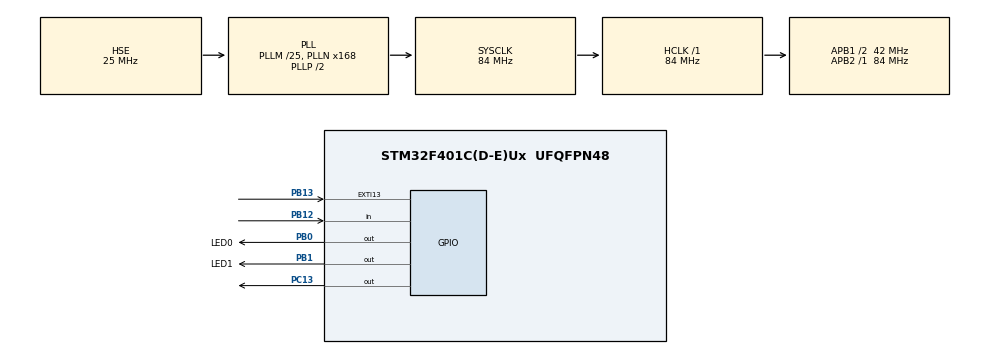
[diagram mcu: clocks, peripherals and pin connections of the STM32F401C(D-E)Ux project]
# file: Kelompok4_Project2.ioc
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Mcu.Family=STM32F4
Mcu.Name=STM32F401C(D-E)Ux
Mcu.Package=UFQFPN48
NVIC.EXTI15_10_IRQn=true\:0\:0\:false\:false\:true\:true\:true\:true
NVIC.PriorityGroup=NVIC_PRIORITYGROUP_4
PA13.Mode=Serial_Wire
PA13.Signal=SYS_JTMS-SWDIO
PA14.Mode=Serial_Wire
PA14.Signal=SYS_JTCK-SWCLK
PB0.GPIO_Label=LED0
PB0.Signal=GPIO_Output
PB1.GPIO_Label=LED1
PB1.Signal=GPIO_Output
PB12.GPIO_PuPd=GPIO_PULLUP
PB12.Signal=GPIO_Input
PB13.GPIO_ModeDefaultEXTI=GPIO_MODE_IT_FALLING
PB13.GPIO_PuPd=GPIO_PULLUP
PB13.Signal=GPXTI13
PC13-ANTI_TAMP.Signal=GPIO_Output
PH0\ -\ OSC_IN.Mode=HSE-External-Oscillator
PH0\ -\ OSC_IN.Signal=RCC_OSC_IN
PH1\ -\ OSC_OUT.Mode=HSE-External-Oscillator
PH1\ -\ OSC_OUT.Signal=RCC_OSC_OUT
ProjectManager.HeapSize=0x200
ProjectManager.StackSize=0x400
ProjectManager.TargetToolchain=STM32CubeIDE
RCC.48MHZClocksFreq_Value=42000000
RCC.AHBFreq_Value=84000000
RCC.APB1CLKDivider=RCC_HCLK_DIV2
RCC.APB1Freq_Value=42000000
RCC.APB1TimFreq_Value=84000000
RCC.APB2Freq_Value=84000000
RCC.APB2TimFreq_Value=84000000
RCC.CortexFreq_Value=84000000
RCC.HCLKFreq_Value=84000000
RCC.HSE_VALUE=25000000
RCC.HSI_VALUE=16000000
RCC.LSE_VALUE=32768
RCC.PLLM=25
RCC.PLLN=168
RCC.PLLSourceVirtual=RCC_PLLSOURCE_HSE
RCC.SYSCLKFreq_VALUE=84000000
RCC.SYSCLKSource=RCC_SYSCLKSOURCE_PLLCLK
RCC.VCOOutputFreq_Value=168000000
board=custom

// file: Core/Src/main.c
/* USER CODE BEGIN Header */
/**
  ******************************************************************************
  * @file           : main.c
  * @brief          : Main program body
  ******************************************************************************
  * @attention
  *
  * Copyright (c) 2025 STMicroelectronics.
  * All rights reserved.
  *
  * This software is licensed under terms that can be found in the LICENSE file
  * in the root directory of this software component.
  * If no LICENSE file comes with this software, it is provided AS-IS.
  *
  ******************************************************************************
  */
/* USER CODE END Header */
#include "main.h"

void SystemClock_Config(void);
static void MX_GPIO_Init(void);

int main(void)
{

  /* MCU Configuration--------------------------------------------------------*/

  /* Reset of all peripherals, Initializes the Flash interface and the Systick. */
  HAL_Init();

  /* Configure the system clock */
  SystemClock_Config();

  /* Initialize all configured peripherals */
  MX_GPIO_Init();
  /* USER CODE BEGIN 2 */
  uint32_t period0 = 0, period1 = 0, this_time;
  uint8_t input_pin;
  /* USER CODE END 2 */

  /* Infinite loop */
  /* USER CODE BEGIN WHILE */
  while (1) {
    this_time = HAL_GetTick();
    if (this_time - period0 >= 1000) {
      HAL_GPIO_TogglePin(GPIOC, GPIO_PIN_13);
      period0 = this_time;
    }

    if (this_time - period1 >= 50) {
      input_pin = HAL_GPIO_ReadPin(GPIOB, GPIO_PIN_12);
      if (input_pin == 1) {
        HAL_GPIO_WritePin(GPIOB, GPIO_PIN_0, 0);
      } else {
        HAL_GPIO_WritePin(GPIOB, GPIO_PIN_0, 1);
      }
      period1 = this_time;
    }
    HAL_Delay(1);
    /* USER CODE END WHILE */

  }
}

void SystemClock_Config(void)
{
  RCC_OscInitTypeDef RCC_OscInitStruct = {0};
  RCC_ClkInitTypeDef RCC_ClkInitStruct = {0};

  /** Configure the main internal regulator output voltage
  */
  __HAL_RCC_PWR_CLK_ENABLE();
  __HAL_PWR_VOLTAGESCALING_CONFIG(PWR_REGULATOR_VOLTAGE_SCALE2);

  /** Initializes the RCC Oscillators according to the specified parameters
  * in the RCC_OscInitTypeDef structure.
  */
  RCC_OscInitStruct.OscillatorType = RCC_OSCILLATORTYPE_HSE;
  RCC_OscInitStruct.HSEState = RCC_HSE_ON;
  RCC_OscInitStruct.PLL.PLLState = RCC_PLL_ON;
  RCC_OscInitStruct.PLL.PLLSource = RCC_PLLSOURCE_HSE;
  RCC_OscInitStruct.PLL.PLLM = 25;
  RCC_OscInitStruct.PLL.PLLN = 168;
  RCC_OscInitStruct.PLL.PLLP = RCC_PLLP_DIV2;
  RCC_OscInitStruct.PLL.PLLQ = 4;
  if (HAL_RCC_OscConfig(&RCC_OscInitStruct) != HAL_OK)
  {
    Error_Handler();
  }

  /** Initializes the CPU, AHB and APB buses clocks
  */
  RCC_ClkInitStruct.ClockType = RCC_CLOCKTYPE_HCLK|RCC_CLOCKTYPE_SYSCLK
                              |RCC_CLOCKTYPE_PCLK1|RCC_CLOCKTYPE_PCLK2;
  RCC_ClkInitStruct.SYSCLKSource = RCC_SYSCLKSOURCE_PLLCLK;
  RCC_ClkInitStruct.AHBCLKDivider = RCC_SYSCLK_DIV1;
  RCC_ClkInitStruct.APB1CLKDivider = RCC_HCLK_DIV2;
  RCC_ClkInitStruct.APB2CLKDivider = RCC_HCLK_DIV1;

  if (HAL_RCC_ClockConfig(&RCC_ClkInitStruct, FLASH_LATENCY_2) != HAL_OK)
  {
    Error_Handler();
  }
}

static void MX_GPIO_Init(void)
{
  GPIO_InitTypeDef GPIO_InitStruct = {0};

  /* GPIO Ports Clock Enable */
  __HAL_RCC_GPIOC_CLK_ENABLE();
  __HAL_RCC_GPIOH_CLK_ENABLE();
  __HAL_RCC_GPIOB_CLK_ENABLE();
  __HAL_RCC_GPIOA_CLK_ENABLE();

  /*Configure GPIO pin Output Level */
  HAL_GPIO_WritePin(GPIOC, GPIO_PIN_13, GPIO_PIN_RESET);

  /*Configure GPIO pin Output Level */
  HAL_GPIO_WritePin(GPIOB, LED0_Pin|LED1_Pin, GPIO_PIN_RESET);

  /*Configure GPIO pin : PC13 */
  GPIO_InitStruct.Pin = GPIO_PIN_13;
  GPIO_InitStruct.Mode = GPIO_MODE_OUTPUT_PP;
  GPIO_InitStruct.Pull = GPIO_NOPULL;
  GPIO_InitStruct.Speed = GPIO_SPEED_FREQ_LOW;
  HAL_GPIO_Init(GPIOC, &GPIO_InitStruct);

  /*Configure GPIO pins : LED0_Pin LED1_Pin */
  GPIO_InitStruct.Pin = LED0_Pin|LED1_Pin;
  GPIO_InitStruct.Mode = GPIO_MODE_OUTPUT_PP;
  GPIO_InitStruct.Pull = GPIO_NOPULL;
  GPIO_InitStruct.Speed = GPIO_SPEED_FREQ_LOW;
  HAL_GPIO_Init(GPIOB, &GPIO_InitStruct);

  /*Configure GPIO pin : PB12 */
  GPIO_InitStruct.Pin = GPIO_PIN_12;
  GPIO_InitStruct.Mode = GPIO_MODE_INPUT;
  GPIO_InitStruct.Pull = GPIO_PULLUP;
  HAL_GPIO_Init(GPIOB, &GPIO_InitStruct);

  /*Configure GPIO pin : PB13 */
  GPIO_InitStruct.Pin = GPIO_PIN_13;
  GPIO_InitStruct.Mode = GPIO_MODE_IT_FALLING;
  GPIO_InitStruct.Pull = GPIO_PULLUP;
  HAL_GPIO_Init(GPIOB, &GPIO_InitStruct);

  /* EXTI interrupt init*/
  HAL_NVIC_SetPriority(EXTI15_10_IRQn, 0, 0);
  HAL_NVIC_EnableIRQ(EXTI15_10_IRQn);

}

/* USER CODE BEGIN 4 */
void HAL_GPIO_EXTI_Callback(uint16_t GPIO_Pin) {
	static uint8_t dstate = 0;

	if (GPIO_Pin == GPIO_PIN_13) {
		if (dstate == 0) {
			HAL_GPIO_WritePin(GPIOB, GPIO_PIN_1, 1);
			dstate = 1;
		} else {
			HAL_GPIO_WritePin(GPIOB, GPIO_PIN_1, 0);
			dstate = 0;
		}
	}
}
/* USER CODE END 4 */

void Error_Handler(void)
{
  __disable_irq();
  while (1)
  {
  }
}
